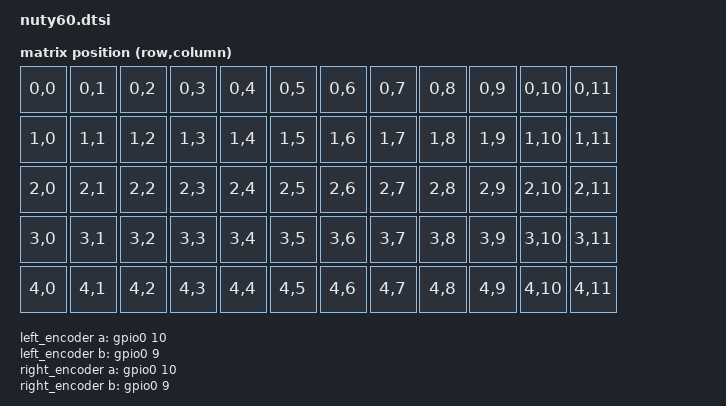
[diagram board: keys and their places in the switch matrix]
/*
 * Copyright (c) 2020 Pete Johanson
 *
 * SPDX-License-Identifier: MIT
 */

#include <dt-bindings/zmk/matrix_transform.h>
#include "nuty60-layouts.dtsi"

/ {

	default_transform: keymap_transform_0 {
		compatible = "zmk,matrix-transform";
		columns = <12>;
		rows = <5>;

		map = <
RC(0,0) RC(0,1) RC(0,2) RC(0,3) RC(0,4) RC(0,5)  RC(0,6) RC(0,7) RC(0,8)  RC(0,9)   RC(0,10)  RC(0,11)
RC(1,0) RC(1,1) RC(1,2) RC(1,3) RC(1,4) RC(1,5)  RC(1,6) RC(1,7) RC(1,8)  RC(1,9)   RC(1,10)  RC(1,11)
RC(2,0) RC(2,1) RC(2,2) RC(2,3) RC(2,4) RC(2,5)  RC(2,6) RC(2,7) RC(2,8)  RC(2,9)   RC(2,10)  RC(2,11)
RC(3,0) RC(3,1) RC(3,2) RC(3,3) RC(3,4) RC(3,5)  RC(3,6) RC(3,7) RC(3,8)  RC(3,9)   RC(3,10)  RC(3,11)
RC(4,0) RC(4,1) RC(4,2) RC(4,3) RC(4,4) RC(4,5)  RC(4,6) RC(4,7) RC(4,8)  RC(4,9)   RC(4,10)  RC(4,11)
		>;
	};

    left_encoder: left_encoder {
        compatible = "alps,ec11";
        steps = <48>;
        status = "disabled";

        a-gpios = <&gpio0 10 GPIO_PULL_UP>;
        b-gpios = <&gpio0 9 GPIO_PULL_UP>;
    };

    right_encoder: right_encoder {
        compatible = "alps,ec11";
        steps = <48>;
        status = "disabled";

        a-gpios = <&gpio0 10 GPIO_PULL_UP>;
        b-gpios = <&gpio0 9 GPIO_PULL_UP>;
    };
    
    sensors: sensors {
        compatible = "zmk,keymap-sensors";
        sensors = <&left_encoder &right_encoder>;
        triggers-per-rotation = <24>;
    };

	kscan0: kscan {
		compatible = "zmk,kscan-gpio-matrix";
		label = "KSCAN";
	};
};

&physical_layout0 {
    kscan = <&kscan0>;
    transform = <&default_transform>;
};

    




&usbd {
	status = "okay";
};

